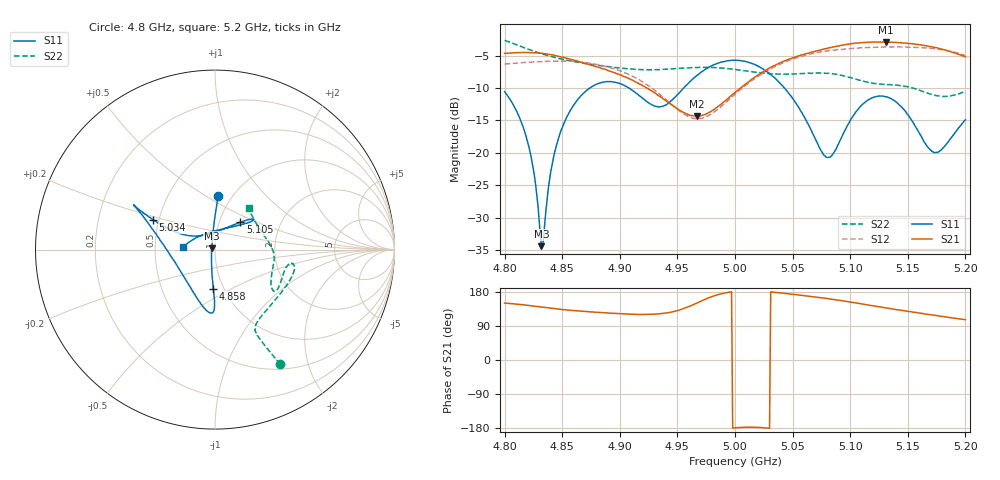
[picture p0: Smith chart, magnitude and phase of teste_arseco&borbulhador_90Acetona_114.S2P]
! Network Analyzer HP8722D
! Hewlett-Packard
! Data name: Linha & Wilkinson
! Saver's name: Rodrigo Anjos
! Comments: Teste da utilização de aquisição
! continua pelo VNA HP8722D
! Time and date: 17/4/2025 12:00
!  Frequency  S11  S21  S12  S22
# HZ  S  MA R 50
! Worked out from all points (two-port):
!   401 points, 4.8 GHz to 5.2 GHz, reference 50 ohm
!   highest |S21| = -2.90 dB at 5.131 GHz (marker M1); lowest = -14.3 dB at 4.967 GHz (marker M2)
!   |S21| within 3 dB of the highest: start of sweep to 4.864 GHz; 5.042 GHz to end of sweep
!   lowest |S11| = -34.3 dB at 4.832 GHz (marker M3), VSWR 1.04, Z = 48.2 + j0.614 ohm
!   |S11| at or under -10 dB: start of sweep to 4.874 GHz; 4.908 GHz to 4.955 GHz (47.7 MHz wide, 0.967 % of centre); 5.043 GHz to end of sweep
!   |S22| runs from -11.3 to -2.7 dB; largest |S21 - S12| = 1.3
!   S11 on the Smith chart (normalised r, x): 4.8 GHz: 0.87, +0.56; 4.858 GHz: 0.89, -0.41; 5.034 GHz: 0.47, +0.18; 5.105 GHz: 1.26, +0.40; 5.2 GHz: 0.70, +0.02
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4.8e9  0.2966 86.7  0.5843 150.1  0.4835 -111.6  0.7346 -60.3
4.811e9  0.2049 89.2  0.5924 147.1  0.4929 -111.3  0.677 -61.2
4.82e9  0.1213 93.9  0.5927 144.4  0.4997 -110.9  0.6317 -62.0
4.826e9  0.06559 102.7  0.5901 142.1  0.5018 -110.5  0.6051 -62.6
4.832e9  0.01917 160.6  0.5862 139.9  0.5036 -110.0  0.5814 -62.9
4.834e9  0.02295 -146.6  0.5817 139.0  0.5062 -109.8  0.5736 -63.1
4.839e9  0.06187 -107.9  0.5724 137.2  0.5076 -109.5  0.5566 -63.3
4.844e9  0.106 -100.1  0.5613 135.2  0.5085 -109.4  0.5422 -63.6
4.858e9  0.2186 -92.3  0.5255 131.0  0.5066 -109.2  0.5097 -63.8
4.867e9  0.2792 -90.6  0.4975 128.8  0.4996 -109.4  0.4932 -63.1
4.898e9  0.3469 -96.9  0.4062 122.8  0.4351 -112.8  0.4524 -55.1
4.934e9  0.2266 -148.1  0.2749 121.8  0.2863 -116.0  0.4379 -34.7
4.967e9  0.3956 158.8  0.1921 150.5  0.1832 -85.7  0.4547 -17.4
5e9  0.5177 151.3  0.2916 -179.2  0.2839 -49.4  0.4391 -10.2
5.034e9  0.3824 154.2  0.4697 178.8  0.4593 -44.1  0.4059 -15.9
5.067e9  0.1439 148.3  0.5995 167.2  0.583 -47.4  0.4112 -30.0
5.082e9  0.09259 100.4  0.6452 161.3  0.6147 -50.3  0.4086 -34.3
5.105e9  0.2074 47.2  0.7011 150.3  0.6389 -55.2  0.3696 -32.3
5.131e9  0.271 37.5  0.716 137.5  0.6558 -63.3  0.3364 -14.7
5.134e9  0.2654 37.5  0.711 136.1  0.6544 -64.3  0.3361 -12.4
5.173e9  0.1003 102.3  0.6488 117.8  0.6327 -78.1  0.2791 20.6
5.2e9  0.1799 175.9  0.5479 106.4  0.5643 -87.1  0.2964 50.8
